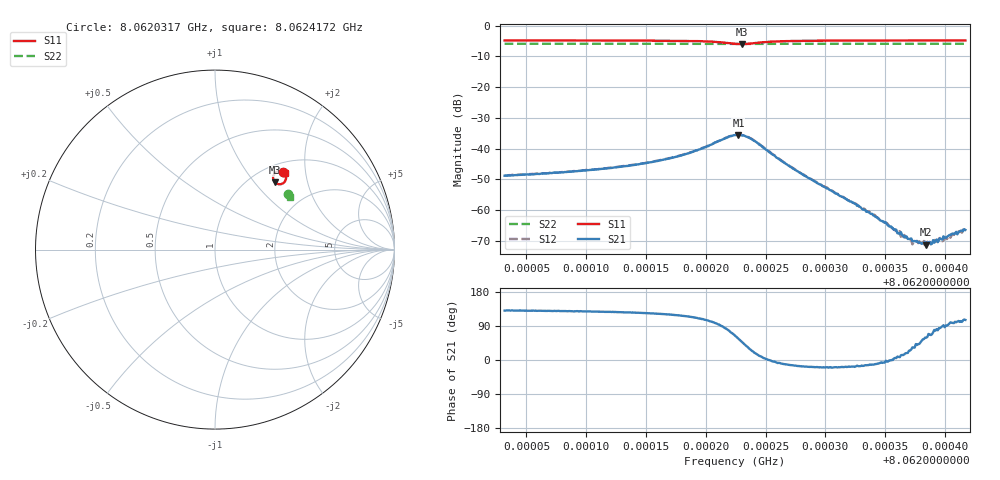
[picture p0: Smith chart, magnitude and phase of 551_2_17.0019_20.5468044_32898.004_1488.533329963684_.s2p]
#  HZ  S  RI  R  50.00
! Rohde & Schwarz Vector Network Analyzer
! Rohde-Schwarz,ZNB20-2Port,1311601062101988,3.16
! Created: UTC 3/20/2024, 11:16:48 PM
! freq[Hz]  re:S11  im:S11  re:S21  im:S21  re:S12  im:S12  re:S22  im:S22
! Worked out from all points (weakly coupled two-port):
!   401 points, 8.0620317 GHz to 8.0624172 GHz, reference 50 ohm
!   highest |S21| = -35.50 dB at 8.0622273 GHz (marker M1); lowest = -71.1 dB at 8.0623844 GHz (marker M2)
!   lowest |S11| = -6.0 dB at 8.0622302 GHz (marker M3), VSWR 3.02, Z = 64.1 + j64.2 ohm
!   |S11| at or under -10 dB: nowhere
!   |S22| runs from -5.9 to -5.9 dB; largest |S21 - S12| = 0.0011
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8.0620317e9  0.3791 0.4336  -0.00236 0.00278  -0.00223 0.00292  0.404 0.3095
8.06209627e9  0.3846 0.4278  -0.00274 0.00344  -0.00254 0.00363  0.4064 0.3063
8.06213579e9  0.389 0.4222  -0.00311 0.00433  -0.00282 0.00453  0.4078 0.3041
8.06216084e9  0.3924 0.4162  -0.00339 0.00543  -0.0031 0.0057  0.4087 0.3026
8.06218976e9  0.3959 0.4021  -0.00347 0.00833  -0.00299 0.00857  0.4096 0.3005
8.06220999e9  0.3888 0.3788  -0.00105 0.0131  -0.000302 0.0131  0.4095 0.2987
8.06222445e9  0.3538 0.3645  0.00726 0.015  0.00807 0.0147  0.4085 0.2977
8.06222734e9  0.3434 0.3679  0.00929 0.014  0.0102 0.0135  0.4081 0.2978
8.06223023e9  0.3344 0.3743  0.011 0.0121  0.012 0.0117  0.4076 0.2983
8.06223987e9  0.3239 0.4057  0.0127 0.00501  0.0132 0.00435  0.4081 0.2992
8.06226396e9  0.3516 0.4354  0.00613 -0.00107  0.00613 -0.00145  0.4106 0.2991
8.06228902e9  0.3673 0.4357  0.00295 -0.000978  0.0029 -0.00119  0.4121 0.2975
8.06232372e9  0.3773 0.4323  0.00126 -0.000395  0.00122 -0.00048  0.4136 0.2957
8.06235359e9  0.3822 0.4296  0.000543 -8.27e-06  0.000554 -4.39e-05  0.4147 0.2941
8.06236227e9  0.3833 0.4289  0.000404 5.32e-05  0.000454 4.61e-05  0.4151 0.2936
8.06237287e9  0.3845 0.4281  0.000265 0.000174  0.000248 0.000127  0.4156 0.293
8.06238058e9  0.3855 0.4275  0.000181 0.00022  0.000187 0.000187  0.4158 0.2927
8.06238443e9  0.3857 0.4272  0.000144 0.000237  0.000163 0.000245  0.4159 0.2925
8.06238925e9  0.3863 0.4269  0.000107 0.000266  0.000118 0.000261  0.4161 0.2921
8.06239985e9  0.3875 0.4262  2.24e-05 0.000355  1.89e-05 0.000353  0.4165 0.2916
8.06241045e9  0.3882 0.4253  -7.98e-05 0.000397  -4.9e-05 0.000406  0.4168 0.291
8.0624172e9  0.389 0.4249  -0.00013 0.000461  -9.69e-05 0.000455  0.4171 0.2909
